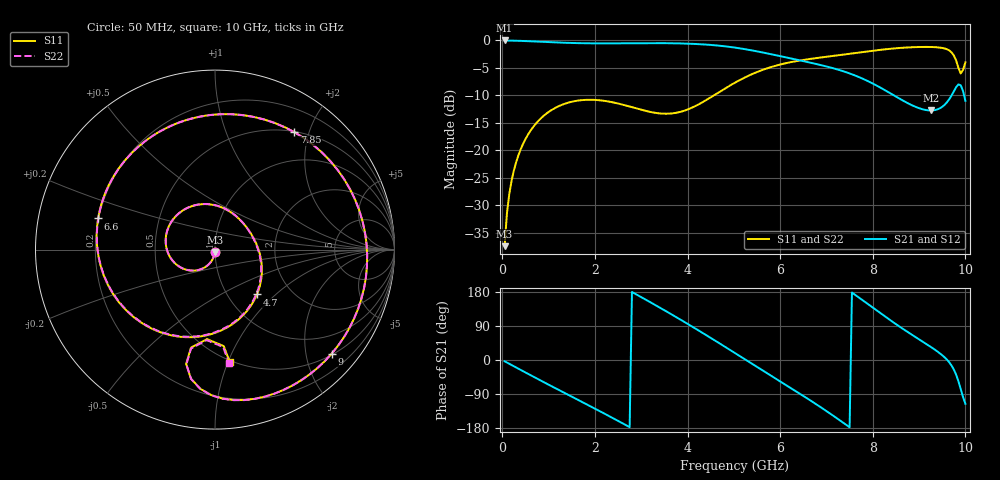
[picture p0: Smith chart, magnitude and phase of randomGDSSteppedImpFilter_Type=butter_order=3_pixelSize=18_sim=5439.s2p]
! freq	dB(S11)	phase(S11)	dB(S12)	phase(S12)
!  dB(S21)	phase(S21)	dB(S22)	phase(S22)
!S-par simulation data
#  GHz  S  DB  R 50
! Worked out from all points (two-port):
!   200 points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, 50 MHz to 10 GHz, reference 50 ohm
!   highest |S21| = -0.01 dB at 50 MHz (marker M1); lowest = -12.8 dB at 9.25 GHz (marker M2)
!   |S21| within 3 dB of the highest: start of sweep to 6.083 GHz
!   lowest |S11| = -37.5 dB at 50 MHz (marker M3), VSWR 1.03, Z = 49.9 - j1.34 ohm
!   |S11| at or under -10 dB: start of sweep to 4.57 GHz
!   |S22| runs from -37.5 to -1.2 dB; largest |S21 - S12| = 0
!   S11 on the Smith chart (normalised r, x): 50 MHz: 1.00, -0.03; 4.7 GHz: 1.36, -0.77; 6.6 GHz: 0.20, +0.13; 7.85 GHz: 0.51, +1.77; 9 GHz: 0.53, -2.53; 10 GHz: 0.49, -1.01
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0.05  -37.45 -92.3  -0.01 -3.4  -0.01 -3.4  -37.45 -92.3
0.2  -25.57 -103.2  -0.04 -13.3  -0.04 -13.3  -25.57 -103.2
0.5  -17.97 -123.2  -0.12 -32.9  -0.12 -32.9  -17.97 -123.3
1.15  -12.25 -165.1  -0.36 -74.6  -0.36 -74.6  -12.25 -165.3
1.75  -10.85 157.2  -0.52 -112.5  -0.52 -112.5  -10.85 156.8
2.65  -11.81 99.6  -0.52 -170.5  -0.52 -170.5  -11.81 98.7
3.4  -13.29 48.9  -0.50 138.4  -0.50 138.4  -13.30 47.2
4.05  -12.41 2.3  -0.60 91.8  -0.60 91.8  -12.42 0.3
4.7  -9.32 -46.9  -0.97 43.2  -0.97 43.2  -9.32 -48.5
5.05  -7.57 -73.9  -1.34 16.4  -1.34 16.4  -7.57 -75.3
5.9  -4.61 -139.8  -2.68 -48.6  -2.68 -48.6  -4.61 -140.8
6.6  -3.43 165.1  -3.95 -102.5  -3.95 -102.5  -3.42 164.2
6.7  -3.31 156.9  -4.14 -110.5  -4.14 -110.5  -3.30 156.1
7.35  -2.61 101.4  -5.58 -164.5  -5.58 -164.5  -2.60 100.6
7.85  -2.05 56.0  -7.23 151.4  -7.23 151.4  -2.05 55.4
8.35  -1.55 11.0  -9.48 107.3  -9.48 107.3  -1.54 10.6
9  -1.20 -41.7  -12.34 54.5  -12.34 54.5  -1.20 -42.0
9.25  -1.20 -60.2  -12.75 34.8  -12.75 34.8  -1.19 -60.4
9.6  -1.60 -87.0  -11.28 1.1  -11.28 1.1  -1.60 -87.1
9.8  -3.65 -104.2  -8.51 -38.7  -8.51 -38.7  -3.61 -104.0
9.9  -6.01 -95.1  -8.17 -77.0  -8.17 -77.0  -5.91 -95.2
10  -4.00 -82.5  -10.99 -115.7  -10.99 -115.7  -3.95 -83.0
